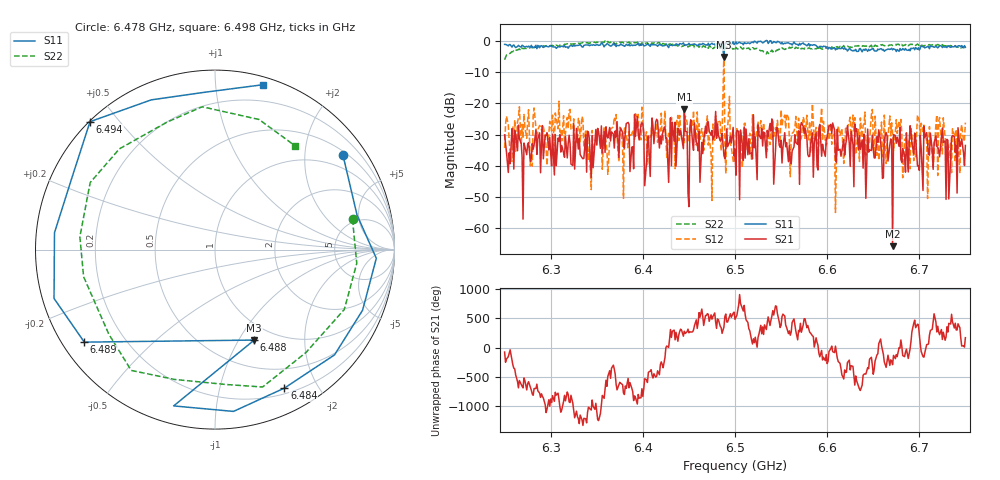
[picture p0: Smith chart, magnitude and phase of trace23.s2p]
# Hz S RI R 50
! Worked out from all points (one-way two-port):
!   401 points, 6.25 GHz to 6.75 GHz, reference 50 ohm
!   highest |S21| = -21.92 dB at 6.445 GHz (marker M1); lowest = -65.7 dB at 6.671 GHz (marker M2)
!   lowest |S11| = -5.2 dB at 6.488 GHz (marker M3), VSWR 3.44, Z = 40.4 - j58.3 ohm
!   |S11| at or under -10 dB: nowhere
!   |S22| runs from -6.1 to 0.0 dB; largest |S21 - S12| = 0.67
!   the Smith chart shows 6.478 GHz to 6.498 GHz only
!   S11 on the Smith chart (normalised r, x): 6.478 GHz: 0.60, +2.94; 6.484 GHz: 0.26, -1.59; 6.488 GHz: 0.81, -1.17; 6.489 GHz: 0.06, -0.32; 6.494 GHz: 0.00, +0.42; 6.498 GHz: 0.06, +1.33
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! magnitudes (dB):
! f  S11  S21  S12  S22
! 6.25 GHz  -1.2  -30.1  -34.3  -6.1
! 6.334 GHz  -2.0  -37.4  -24.2  -0.7
! 6.344 GHz  -1.3  -43.8  -47.6  -0.5
! 6.369 GHz  -1.4  -34.3  -24.4  -0.8
! 6.376 GHz  -1.0  -28.0  -28.5  -0.6
! 6.405 GHz  -1.1  -31.8  -40.0  -0.7
! 6.418 GHz  -1.1  -34.3  -28.2  -0.6
! 6.445 GHz  -1.3  -21.9  -32.6  -1.5
! 6.451 GHz  -1.2  -27.7  -29.2  -1.3
! 6.478 GHz  -1.1  -30.1  -31.8  -2.1
! 6.484 GHz  -1.3  -32.0  -26.1  -2.5
! 6.488 GHz  -5.2  -36.7  -3.5  -2.4
! 6.489 GHz  -1.0  -37.7  -32.7  -2.5
! 6.494 GHz  0.0  -32.5  -17.8  -2.4
! 6.498 GHz  -0.4  -27.7  -38.5  -2.7
! 6.5 GHz  -0.9  -34.7  -32.4  -2.7
! 6.584 GHz  -1.5  -29.5  -20.2  -2.6
! 6.608 GHz  -2.2  -28.5  -28.9  -2.3
! 6.625 GHz  -2.6  -40.2  -24.5  -2.1
! 6.668 GHz  -2.8  -33.4  -24.0  -1.3
! 6.671 GHz  -2.9  -65.7  -29.7  -1.5
! 6.75 GHz  -2.1  -33.5  -26.2  -2.4
